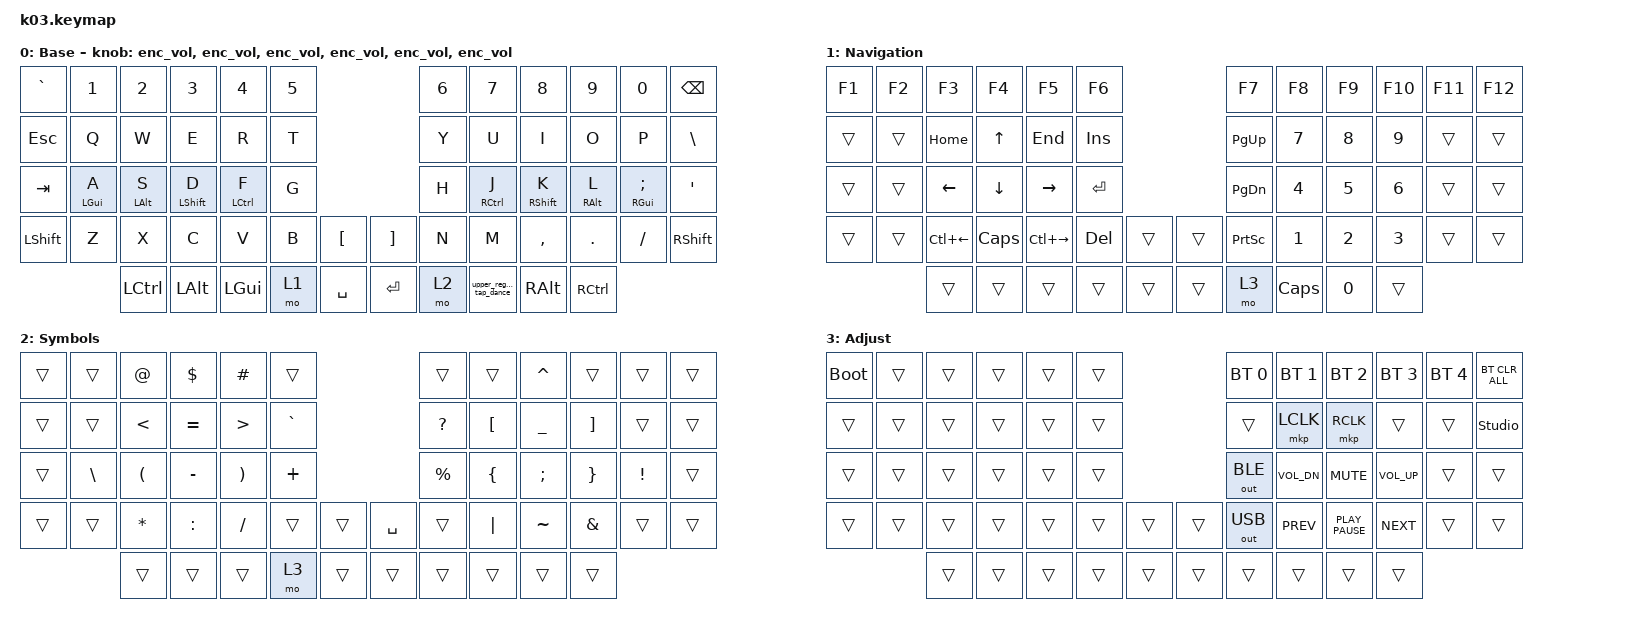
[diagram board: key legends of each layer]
#include "keys_ru.h"
#include <behaviors.dtsi>
#include <dt-bindings/zmk/bt.h>
#include <dt-bindings/zmk/keys.h>
#include <dt-bindings/zmk/outputs.h>
#include <dt-bindings/zmk/pointing.h>

/ {
    behaviors {
        enc_vol: enc_vol {
            compatible = "zmk,behavior-sensor-rotate";
            label = "ENC_VOL";
            #sensor-binding-cells = <0>;
            bindings = <&kp C_VOL_UP>, <&kp C_VOL_DN>;
        };

        hml_left: hml_left {
            compatible = "zmk,behavior-hold-tap";
            label = "HML_LEFT";
            bindings = <&kp>, <&kp>;

            #binding-cells = <2>;
            tapping-term-ms = <350>;
            hold-trigger-key-positions = <6 7 18 19 30 31 43 44 45 6 7 8 9 10 11 18 19 20 21 22 23 30 31 32 33 34 35 43 44 45 46 47 48 49 55 56 57 58 59>;
            quick-tap-ms = <175>;
            require-prior-idle-ms = <150>;
            flavor = "balanced";
            hold-trigger-on-release;
        };

        hmr_right: hmr_right {
            compatible = "zmk,behavior-hold-tap";
            label = "HMR_RIGHT";
            bindings = <&kp>, <&kp>;

            #binding-cells = <2>;
            tapping-term-ms = <350>;
            hold-trigger-key-positions = <0 1 2 3 4 5 12 13 14 15 16 17 24 25 26 27 28 29 36 37 38 39 40 41 42 50 51 52 53 54>;
            require-prior-idle-ms = <150>;
            flavor = "balanced";
            quick-tap-ms = <175>;
            hold-trigger-on-release;
        };

        sticky_key: sticky_key {
            compatible = "zmk,behavior-sticky-key";
            label = "STICKY_KEY";
            bindings = <&kp>;
            #binding-cells = <1>;
            release-after-ms = <1500>;
            quick-release;
        };

        sticky_hold_tap: sticky_hold_tap {
            compatible = "zmk,behavior-hold-tap";
            label = "STICKY_HOLD_TAP";
            bindings = <&mo>, <&sticky_key>;

            #binding-cells = <2>;
            tapping-term-ms = <200>;
            flavor = "balanced";
            quick-tap-ms = <0>;
        };

        upper_register_tap_dance: upper_register_tap_dance {
            compatible = "zmk,behavior-tap-dance";
            label = "UPPER_REGISTER_TAP_DANCE";
            #binding-cells = <0>;
            bindings = <&sticky_key RIGHT_SHIFT>, <&caps_word>;

            tapping-term-ms = <250>;
        };
    };

    keymap {
        compatible = "zmk,keymap";

        base {
            bindings = <
&kp GRAVE  &kp N1                &kp N2                &kp N3                  &kp N4                    &kp N5                          &kp N6  &kp N7                      &kp N8                    &kp N9                  &kp N0                     &kp BSPC
&kp ESC    &kp Q                 &kp W                 &kp E                   &kp R                     &kp T                           &kp Y   &kp U                       &kp I                     &kp O                   &kp P                      &kp BSLH
&kp TAB    &hml_left LEFT_GUI A  &hml_left LEFT_ALT S  &hml_left LEFT_SHIFT D  &hml_left LEFT_CONTROL F  &kp G                           &kp H   &hmr_right RIGHT_CONTROL J  &hmr_right RIGHT_SHIFT K  &hmr_right RIGHT_ALT L  &hmr_right RIGHT_GUI SEMI  &kp SQT
&kp LSHFT  &kp Z                 &kp X                 &kp C                   &kp V                     &kp B   &kp LBKT     &kp RBKT   &kp N   &kp M                       &kp COMMA                 &kp DOT                 &kp FSLH                   &kp RSHFT
                                 &kp LEFT_CONTROL      &kp LALT                &kp LEFT_GUI              &mo 1   &kp SPACE    &kp ENTER  &mo 2   &upper_register_tap_dance   &kp RALT                  &kp RIGHT_CONTROL
            >;

            display-name = "Base";
            sensor-bindings =
                <&enc_vol>,
                <&enc_vol>,
                <&enc_vol>,
                <&enc_vol>,
                <&enc_vol>,
                <&enc_vol>;
        };

        nav {
            bindings = <
&kp F1  &kp F2  &kp F3        &kp F4    &kp F5         &kp F6                     &kp F7           &kp F8        &kp F9  &kp F10  &kp F11  &kp F12
&trans  &trans  &kp HOME      &kp UP    &kp END        &kp INS                    &kp PG_UP        &kp N7        &kp N8  &kp N9   &trans   &trans
&trans  &trans  &kp LEFT      &kp DOWN  &kp RIGHT      &kp RET                    &kp PG_DN        &kp N4        &kp N5  &kp N6   &trans   &trans
&trans  &trans  &kp LC(LEFT)  &kp CAPS  &kp LC(RIGHT)  &kp DEL  &trans    &trans  &kp PRINTSCREEN  &kp N1        &kp N2  &kp N3   &trans   &trans
                &trans        &trans    &trans         &trans   &trans    &trans  &mo 3            &kp CAPSLOCK  &kp N0  &trans
            >;

            display-name = "Navigation";
        };

        sym {
            bindings = <
&trans  &trans    &kp AT    &kp DLLR   &kp HASH  &trans                          &trans     &trans    &kp CARET  &trans    &trans    &trans
&trans  &trans    &kp LT    &kp EQUAL  &kp GT    &kp GRAVE                       &kp QMARK  &kp LBKT  &kp UNDER  &kp RBKT  &trans    &trans
&trans  &kp BSLH  &kp LPAR  &kp MINUS  &kp RPAR  &kp PLUS                        &kp PRCNT  &kp LBRC  &kp SEMI   &kp RBRC  &kp EXCL  &trans
&trans  &trans    &kp STAR  &kp COLON  &kp FSLH  &trans     &trans    &kp SPACE  &trans     &kp PIPE  &kp TILDE  &kp AMPS  &trans    &trans
                  &trans    &trans     &trans    &mo 3      &trans    &trans     &trans     &trans    &trans     &trans
            >;

            display-name = "Symbols";
        };

        adj {
            bindings = <
&bootloader  &trans  &trans  &trans  &trans  &trans                    &bt BT_SEL 0  &bt BT_SEL 1  &bt BT_SEL 2      &bt BT_SEL 3  &bt BT_SEL 4  &bt BT_CLR_ALL
&trans       &trans  &trans  &trans  &trans  &trans                    &trans        &mkp LCLK     &mkp RCLK         &trans        &trans        &studio_unlock
&trans       &trans  &trans  &trans  &trans  &trans                    &out OUT_BLE  &kp C_VOL_DN  &kp K_MUTE        &kp C_VOL_UP  &trans        &trans
&trans       &trans  &trans  &trans  &trans  &trans  &trans    &trans  &out OUT_USB  &kp K_PREV    &kp K_PLAY_PAUSE  &kp K_NEXT    &trans        &trans
                     &trans  &trans  &trans  &trans  &trans    &trans  &trans        &trans        &trans            &trans
            >;

            display-name = "Adjust";
        };
    };
};
